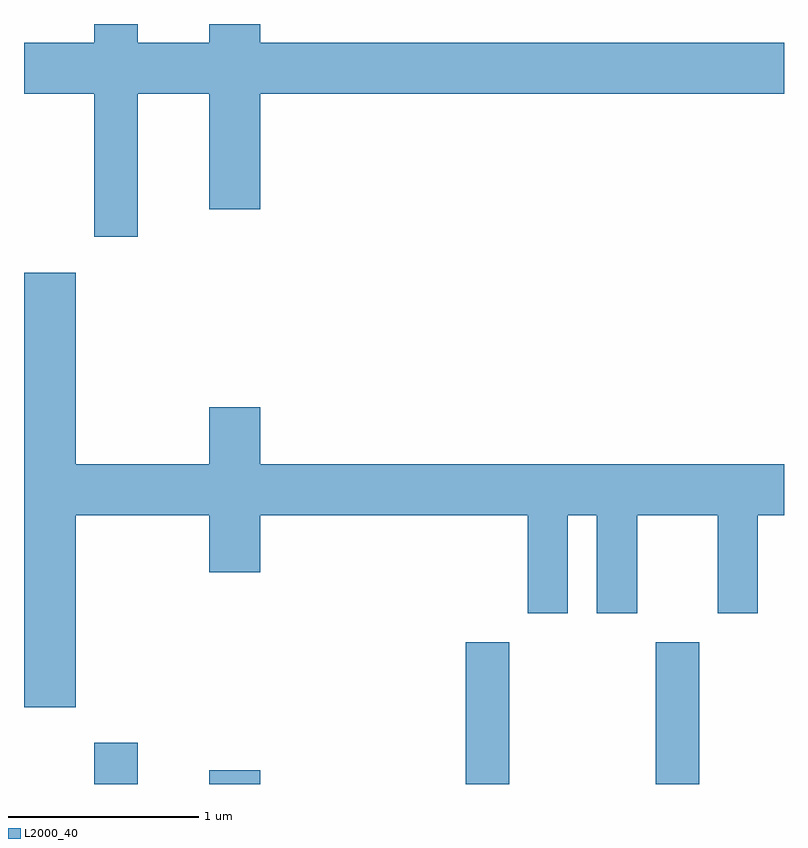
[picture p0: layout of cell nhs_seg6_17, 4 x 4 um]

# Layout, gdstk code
import gdstk
lib = gdstk.Library(unit=1e-6, precision=1e-09)
def R(c, l, rs):  # rectangles x0, y0, x1, y1
    for r in rs: c.add(gdstk.rectangle(r[:2], r[2:], *l))
def P(c, l, *ps):  # polygons
    for p in ps: c.add(gdstk.Polygon(p, *l))
L2000_40 = (2000, 40)

nhs_seg6_17 = lib.new_cell('nhs_seg6_17')
R(nhs_seg6_17, L2000_40, [(185.981,1564.162,186.209,1564.379), (186.586,1564.162,186.854,1564.234), (187.936,1564.162,188.164,1564.909), (188.936,1564.162,189.164,1564.909)])
P(nhs_seg6_17, L2000_40, [(186.209,1567.796),(186.586,1567.796),(186.586,1567.186),(186.854,1567.186),(186.854,1567.796),(189.611,1567.796),(189.611,1568.064),(186.854,1568.064),(186.854,1568.162),(186.586,1568.162),(186.586,1568.064),(186.209,1568.064),(186.209,1568.162),(185.981,1568.162),(185.981,1568.064),(185.611,1568.064),(185.611,1567.796),(185.981,1567.796),(185.981,1567.041),(186.209,1567.041)],
  [(185.884,1565.576),(186.586,1565.576),(186.586,1565.276),(186.854,1565.276),(186.854,1565.576),(188.261,1565.576),(188.261,1565.061),(188.474,1565.061),(188.474,1565.576),(188.626,1565.576),(188.626,1565.061),(188.839,1565.061),(188.839,1565.576),(189.261,1565.576),(189.261,1565.061),(189.474,1565.061),(189.474,1565.576),(189.611,1565.576),(189.611,1565.844),(186.854,1565.844),(186.854,1566.144),(186.586,1566.144),(186.586,1565.844),(185.884,1565.844),(185.884,1566.854),(185.611,1566.854),(185.611,1564.566),(185.884,1564.566)])

lib.write_gds('nhs_seg6_17.gds')
